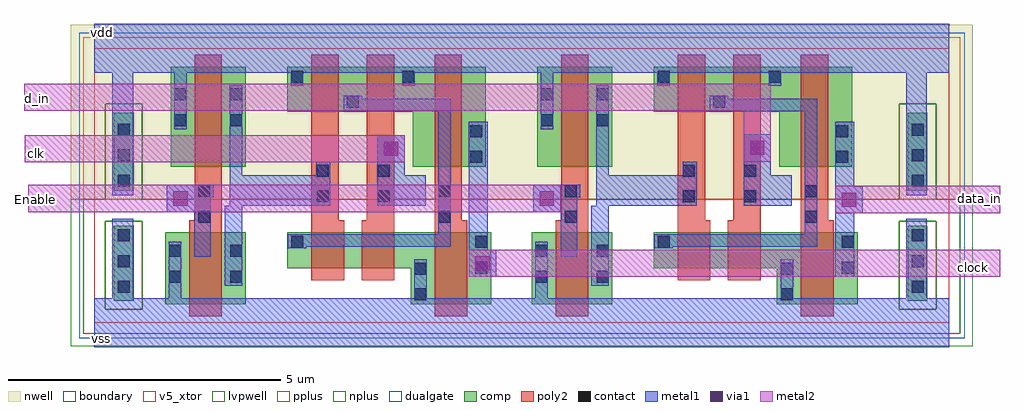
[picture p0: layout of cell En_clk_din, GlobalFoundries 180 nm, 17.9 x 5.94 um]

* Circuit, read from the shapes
.subckt En_clk_din Enable clk clock d_in data_in vdd vss
XM1 gf180mcu_fd_sc_mcu9t5v0__and2_1_0/A1 Enable vss vss nfet_05v0 w=1.32u l=0.6u
XM2 n1 gf180mcu_fd_sc_mcu9t5v0__and2_1_0/A1 n2 vss nfet_05v0 w=0.66u l=0.6u
XM3 vss clk n1 vss nfet_05v0 w=0.66u l=0.6u
XM4 clock n2 vss vss nfet_05v0 w=1.32u l=0.6u
XM5 gf180mcu_fd_sc_mcu9t5v0__and2_1_1/A1 Enable vss vss nfet_05v0 w=1.32u l=0.6u
XM6 n3 gf180mcu_fd_sc_mcu9t5v0__and2_1_1/A1 n4 vss nfet_05v0 w=0.66u l=0.6u
XM7 vss d_in n3 vss nfet_05v0 w=0.66u l=0.6u
XM8 data_in n4 vss vss nfet_05v0 w=1.32u l=0.6u
XM9 gf180mcu_fd_sc_mcu9t5v0__and2_1_0/A1 Enable vdd vdd pfet_05v0 w=1.83u l=0.5u
XM10 n2 gf180mcu_fd_sc_mcu9t5v0__and2_1_0/A1 vdd vdd pfet_05v0 w=0.82u l=0.5u
XM11 vdd clk n2 vdd pfet_05v0 w=0.82u l=0.5u
XM12 clock n2 vdd vdd pfet_05v0 w=1.83u l=0.5u
XM13 gf180mcu_fd_sc_mcu9t5v0__and2_1_1/A1 Enable vdd vdd pfet_05v0 w=1.83u l=0.5u
XM14 n4 gf180mcu_fd_sc_mcu9t5v0__and2_1_1/A1 vdd vdd pfet_05v0 w=0.82u l=0.5u
XM15 vdd d_in n4 vdd pfet_05v0 w=0.82u l=0.5u
XM16 data_in n4 vdd vdd pfet_05v0 w=1.83u l=0.5u
.ends

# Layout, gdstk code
import gdstk
lib = gdstk.Library(unit=1e-6, precision=5e-09)
def R(c, l, rs):  # rectangles x0, y0, x1, y1
    for r in rs: c.add(gdstk.rectangle(r[:2], r[2:], *l))
def A(c, l, x, y, w, h, nx, ny, dx, dy):  # array of equal rectangles
    R(c, l, [(x+i*dx, y+j*dy, x+i*dx+w, y+j*dy+h) for i in range(nx) for j in range(ny)])
def P(c, l, *ps):  # polygons
    for p in ps: c.add(gdstk.Polygon(p, *l))
boundary = (0, 0)
nwell = (21, 0)
comp = (22, 0)
poly2 = (30, 0)
pplus = (31, 0)
nplus = (32, 0)
contact = (33, 0)
metal1 = (34, 0)
via1 = (35, 0)
metal2 = (36, 0)
dualgate = (55, 0)
v5_xtor = (112, 1)
lvpwell = (204, 0)

gf180mcu_fd_sc_mcu9t5v0_ = lib.new_cell('gf180mcu_fd_sc_mcu9t5v0__and2_1')
R(gf180mcu_fd_sc_mcu9t5v0_, boundary, [(0,0,4.48,5.04)])
R(gf180mcu_fd_sc_mcu9t5v0_, nwell, [(-0.43,2.265,4.91,5.47)])
P(gf180mcu_fd_sc_mcu9t5v0_, comp, [(2.48,2.865),(2.48,3.875),(0.18,3.875),(0.18,4.695),(3.82,4.695),(3.82,2.865)],
  [(2.44,0.345),(2.44,1.005),(0.18,1.005),(0.18,1.665),(3.92,1.665),(3.92,0.345)])
P(gf180mcu_fd_sc_mcu9t5v0_, poly2, [(0.62,0.785),(0.62,4.915),(1.12,4.915),(1.12,1.885),(1.22,1.885),(1.22,0.785)],
  [(1.54,0.785),(1.54,1.885),(1.64,1.885),(1.64,4.915),(2.14,4.915),(2.14,0.785)],
  [(2.88,0.125),(2.88,4.915),(3.38,4.915),(3.38,1.885),(3.48,1.885),(3.48,0.125)])
R(gf180mcu_fd_sc_mcu9t5v0_, pplus, [(-0.2,2.265,4.68,5.24)])
R(gf180mcu_fd_sc_mcu9t5v0_, nplus, [(-0.2,-0.2,4.68,2.265)])
R(gf180mcu_fd_sc_mcu9t5v0_, contact, [(2.51,0.415,2.73,0.635), (2.51,0.885,2.73,1.105), (3.63,0.905,3.85,1.125), (0.25,1.375,0.47,1.595), (3.63,1.375,3.85,1.595), (2.95,1.835,3.17,2.055), (0.715,2.21,0.935,2.43), (1.835,2.21,2.055,2.43), (2.95,2.305,3.17,2.525), (0.715,2.68,0.935,2.9), (1.835,2.68,2.055,2.9), (3.53,2.935,3.75,3.155), (3.53,3.405,3.75,3.625), (1.27,3.945,1.49,4.165), (0.25,4.405,0.47,4.625), (2.29,4.405,2.51,4.625)])
R(gf180mcu_fd_sc_mcu9t5v0_, metal1, [(3.51,0.845,3.855,3.685)])
P(gf180mcu_fd_sc_mcu9t5v0_, metal1, [(0.115,2.15),(0.115,2.71),(0.71,2.71),(0.71,2.96),(0.97,2.96),(0.97,2.15)],
  [(1.83,2.15),(1.83,2.96),(2.06,2.96),(2.06,2.71),(2.715,2.71),(2.715,2.15)],
  [(0.19,1.37),(0.19,1.625),(2.945,1.625),(2.945,3.885),(1.21,3.885),(1.21,4.17),(1.55,4.17),(1.55,4.115),(3.175,4.115),(3.175,1.395),(0.53,1.395),(0.53,1.37)],
  [(0,-0.45),(0,0.45),(2.505,0.45),(2.505,1.165),(2.735,1.165),(2.735,0.45),(4.48,0.45),(4.48,-0.45)],
  [(0.245,4.345),(0.245,4.59),(0,4.59),(0,5.49),(4.48,5.49),(4.48,4.59),(2.515,4.59),(2.515,4.345),(2.285,4.345),(2.285,4.59),(0.475,4.59),(0.475,4.345)])
R(gf180mcu_fd_sc_mcu9t5v0_, dualgate, [(-0.28,-0.28,4.76,5.32)])
R(gf180mcu_fd_sc_mcu9t5v0_, v5_xtor, [(0,0,4.48,5.04)])
R(gf180mcu_fd_sc_mcu9t5v0_, lvpwell, [(-0.43,-0.43,4.91,2.265)])
gf180mcu_fd_sc_mcu9t5v0_.add(gdstk.Label('A1', (0.84,2.52), layer=34, texttype=10))
gf180mcu_fd_sc_mcu9t5v0_.add(gdstk.Label('A2', (1.96,2.52), layer=34, texttype=10))
gf180mcu_fd_sc_mcu9t5v0_.add(gdstk.Label('VDD', (0.36,4.59), layer=34, texttype=10))
gf180mcu_fd_sc_mcu9t5v0_.add(gdstk.Label('VSS', (2.62,0.45), layer=34, texttype=10))
gf180mcu_fd_sc_mcu9t5v0_.add(gdstk.Label('Z', (3.64,2.52), layer=34, texttype=10))
gf180mcu_fd_sc_mcu9t5v0_.add(gdstk.Label('& Vendor GLOBALFOUNDRIES', (0,2), layer=63, texttype=63))
gf180mcu_fd_sc_mcu9t5v0_.add(gdstk.Label('& Product GF018hv5v_green_sc9', (0,1.5), layer=63, texttype=63))
gf180mcu_fd_sc_mcu9t5v0_.add(gdstk.Label('& Version 2015q2v2', (0,1), layer=63, texttype=63))
gf180mcu_fd_sc_mcu9t5v0_.add(gdstk.Label('& Metric 1.00', (0,0.5), layer=63, texttype=63))
gf180mcu_fd_sc_mcu9t5v0_.add(gdstk.Label('VNW', (0.345,3.92), layer=21, texttype=10))
gf180mcu_fd_sc_mcu9t5v0_.add(gdstk.Label('VPW', (0.34,-0.085), layer=204, texttype=10))

c_gf180mcu_fd_sc_mcu9t5v0_ = lib.new_cell('gf180mcu_fd_sc_mcu9t5v0__filltie$2')
R(c_gf180mcu_fd_sc_mcu9t5v0_, boundary, [(0,0,1.12,5.04)])
R(c_gf180mcu_fd_sc_mcu9t5v0_, nwell, [(-0.43,2.265,1.55,5.47)])
R(c_gf180mcu_fd_sc_mcu9t5v0_, comp, [(0.36,0.41,0.72,1.785), (0.36,2.425,0.72,3.855)])
R(c_gf180mcu_fd_sc_mcu9t5v0_, pplus, [(0.2,0.25,0.88,1.865)])
P(c_gf180mcu_fd_sc_mcu9t5v0_, pplus, [(-0.2,2.265),(-0.2,5.24),(1.32,5.24),(1.32,2.265),(0.88,2.265),(0.88,4.015),(0.2,4.015),(0.2,2.265)])
P(c_gf180mcu_fd_sc_mcu9t5v0_, nplus, [(-0.2,-0.2),(-0.2,2.265),(0.2,2.265),(0.2,4.015),(0.88,4.015),(0.88,1.865),(0.2,1.865),(0.2,0.25),(0.88,0.25),(0.88,4.015),(0.88,2.265),(1.32,2.265),(1.32,-0.2)])
A(c_gf180mcu_fd_sc_mcu9t5v0_, contact, 0.43, 0.555, 0.22, 0.22, 1, 3, 0, 0.47)
A(c_gf180mcu_fd_sc_mcu9t5v0_, contact, 0.43, 2.495, 0.22, 0.22, 1, 3, 0, 0.47)
P(c_gf180mcu_fd_sc_mcu9t5v0_, metal1, [(0,-0.45),(0,0.45),(0.33,0.45),(0.33,1.91),(0.71,1.91),(0.71,0.45),(1.12,0.45),(1.12,-0.45)],
  [(0.33,2.34),(0.33,4.59),(0,4.59),(0,5.49),(1.12,5.49),(1.12,4.59),(0.71,4.59),(0.71,2.34)])
R(c_gf180mcu_fd_sc_mcu9t5v0_, dualgate, [(-0.28,-0.28,1.4,5.32)])
R(c_gf180mcu_fd_sc_mcu9t5v0_, v5_xtor, [(0,0,1.12,5.04)])
R(c_gf180mcu_fd_sc_mcu9t5v0_, lvpwell, [(-0.43,-0.43,1.55,2.265)])
c_gf180mcu_fd_sc_mcu9t5v0_.add(gdstk.Label('VSS', (0.56,-0.45), layer=34, texttype=10))
c_gf180mcu_fd_sc_mcu9t5v0_.add(gdstk.Label('VDD', (0.56,5.49), layer=34, texttype=10))
c_gf180mcu_fd_sc_mcu9t5v0_.add(gdstk.Label('& Vendor GLOBALFOUNDRIES', (0,2), layer=63, texttype=63))
c_gf180mcu_fd_sc_mcu9t5v0_.add(gdstk.Label('& Product GF018hv5v_green_sc9', (0,1.5), layer=63, texttype=63))
c_gf180mcu_fd_sc_mcu9t5v0_.add(gdstk.Label('& Version 2015q2v2', (0,1), layer=63, texttype=63))
c_gf180mcu_fd_sc_mcu9t5v0_.add(gdstk.Label('& Metric 1.00', (0,0.5), layer=63, texttype=63))

c_gf180mcu_fd_sc_mcu9t5v0__ = lib.new_cell('gf180mcu_fd_sc_mcu9t5v0__inv_1$5')
R(c_gf180mcu_fd_sc_mcu9t5v0__, boundary, [(0,0,2.24,5.04)])
R(c_gf180mcu_fd_sc_mcu9t5v0__, nwell, [(-0.43,2.265,2.67,5.47)])
R(c_gf180mcu_fd_sc_mcu9t5v0__, comp, [(0.18,0.345,1.66,1.665), (0.28,2.865,1.66,4.695)])
P(c_gf180mcu_fd_sc_mcu9t5v0__, poly2, [(0.62,0.125),(0.62,1.885),(0.72,1.885),(0.72,4.915),(1.22,4.915),(1.22,0.125)])
R(c_gf180mcu_fd_sc_mcu9t5v0__, pplus, [(-0.2,2.265,2.44,5.24)])
R(c_gf180mcu_fd_sc_mcu9t5v0__, nplus, [(-0.2,-0.2,2.44,2.265)])
R(c_gf180mcu_fd_sc_mcu9t5v0__, contact, [(0.25,0.74,0.47,0.96), (1.37,0.74,1.59,0.96), (0.25,1.21,0.47,1.43), (1.37,1.21,1.59,1.43), (0.79,1.835,1.01,2.055), (0.79,2.305,1.01,2.525), (0.35,3.61,0.57,3.83), (1.37,3.61,1.59,3.83), (0.35,4.08,0.57,4.3), (1.37,4.08,1.59,4.3)])
P(c_gf180mcu_fd_sc_mcu9t5v0__, metal1, [(0.71,1.21),(0.71,2.53),(1.07,2.53),(1.07,2.3),(1.015,2.3),(1.015,1.21)],
  [(1.27,0.68),(1.27,2.15),(1.365,2.15),(1.365,4.36),(1.595,4.36),(1.595,0.68)],
  [(0,-0.45),(0,0.45),(0.245,0.45),(0.245,1.49),(0.475,1.49),(0.475,0.45),(2.24,0.45),(2.24,-0.45)],
  [(0.345,3.55),(0.345,4.59),(0,4.59),(0,5.49),(2.24,5.49),(2.24,4.59),(0.575,4.59),(0.575,3.55)])
R(c_gf180mcu_fd_sc_mcu9t5v0__, dualgate, [(-0.28,-0.28,2.52,5.32)])
R(c_gf180mcu_fd_sc_mcu9t5v0__, v5_xtor, [(0,0,2.24,5.04)])
R(c_gf180mcu_fd_sc_mcu9t5v0__, lvpwell, [(-0.43,-0.43,2.67,2.265)])
c_gf180mcu_fd_sc_mcu9t5v0__.add(gdstk.Label('I', (0.84,1.96), layer=34, texttype=10))
c_gf180mcu_fd_sc_mcu9t5v0__.add(gdstk.Label('VDD', (1.12,5.49), layer=34, texttype=10))
c_gf180mcu_fd_sc_mcu9t5v0__.add(gdstk.Label('VSS', (1.12,-0.45), layer=34, texttype=10))
c_gf180mcu_fd_sc_mcu9t5v0__.add(gdstk.Label('ZN', (1.4,1.96), layer=34, texttype=10))
c_gf180mcu_fd_sc_mcu9t5v0__.add(gdstk.Label('& Vendor GLOBALFOUNDRIES', (0,2), layer=63, texttype=63))
c_gf180mcu_fd_sc_mcu9t5v0__.add(gdstk.Label('& Product GF018hv5v_green_sc9', (0,1.5), layer=63, texttype=63))
c_gf180mcu_fd_sc_mcu9t5v0__.add(gdstk.Label('& Version 2015q2v2', (0,1), layer=63, texttype=63))
c_gf180mcu_fd_sc_mcu9t5v0__.add(gdstk.Label('& Metric 1.00', (0,0.5), layer=63, texttype=63))
c_gf180mcu_fd_sc_mcu9t5v0__.add(gdstk.Label('VNW', (0.345,3.92), layer=21, texttype=10))
c_gf180mcu_fd_sc_mcu9t5v0__.add(gdstk.Label('VPW', (0.34,-0.085), layer=204, texttype=10))

via_dev_28 = lib.new_cell('via_dev$28')

via_dev_29 = lib.new_cell('via_dev$29')
R(via_dev_29, metal1, [(0,0,0.5,0.5)])
R(via_dev_29, via1, [(0.12,0.12,0.38,0.38)])
R(via_dev_29, metal2, [(0,0,0.5,0.5)])

en_clk_din = lib.new_cell('En_clk_din')
R(en_clk_din, metal1, [(-3.265,0.8,-2.335,1.36), (3.515,0.8,4.385,1.36), (-0.62,1.305,-0.12,2.095), (6.1,1.32,6.6,2.11)])
R(en_clk_din, metal2, [(1.06,-0.505,10.8,-0.005), (7.78,0.66,10.8,1.165), (-7.025,0.68,2.74,1.18), (-7.09,1.595,-0.12,2.095)])
P(en_clk_din, metal2, [(6.1,2.11),(6.1,2.54),(-7.1,2.54),(-7.1,3.04),(6.6,3.04),(6.6,2.11)])
en_clk_din.add(gdstk.Reference(gf180mcu_fd_sc_mcu9t5v0_, (-2.45,-1.35)))
en_clk_din.add(gdstk.Reference(gf180mcu_fd_sc_mcu9t5v0_, (4.27,-1.35)))
en_clk_din.add(gdstk.Reference(c_gf180mcu_fd_sc_mcu9t5v0_, (-5.81,-1.35)))
en_clk_din.add(gdstk.Reference(c_gf180mcu_fd_sc_mcu9t5v0_, (8.75,-1.35)))
en_clk_din.add(gdstk.Reference(c_gf180mcu_fd_sc_mcu9t5v0__, (-4.69,-1.35)))
en_clk_din.add(gdstk.Reference(c_gf180mcu_fd_sc_mcu9t5v0__, (2.03,-1.35)))
en_clk_din.add(gdstk.Reference(via_dev_28, (-7.71,1.85)))
en_clk_din.add(gdstk.Reference(via_dev_29, (-0.62,1.595)))
en_clk_din.add(gdstk.Reference(via_dev_29, (-4.48,0.68)))
en_clk_din.add(gdstk.Reference(via_dev_29, (7.78,0.66)))
en_clk_din.add(gdstk.Reference(via_dev_29, (2.24,0.68)))
en_clk_din.add(gdstk.Reference(via_dev_29, (6.1,1.61)))
en_clk_din.add(gdstk.Reference(via_dev_29, (1.06,-0.505)))
en_clk_din.add(gdstk.Label('vdd', (-5.655,3.97), layer=34, texttype=10))
en_clk_din.add(gdstk.Label('vss', (-5.67,-1.63), layer=34, texttype=10))
en_clk_din.add(gdstk.Label('Enable', (-6.885,0.91), layer=36, texttype=10))
en_clk_din.add(gdstk.Label('clk', (-6.875,1.765), layer=36, texttype=10))
en_clk_din.add(gdstk.Label('d_in', (-6.86,2.77), layer=36, texttype=10))
en_clk_din.add(gdstk.Label('data_in', (10.43,0.925), layer=36, texttype=10))
en_clk_din.add(gdstk.Label('clock', (10.31,-0.325), layer=36, texttype=10))

lib.write_gds('En_clk_din.gds')
